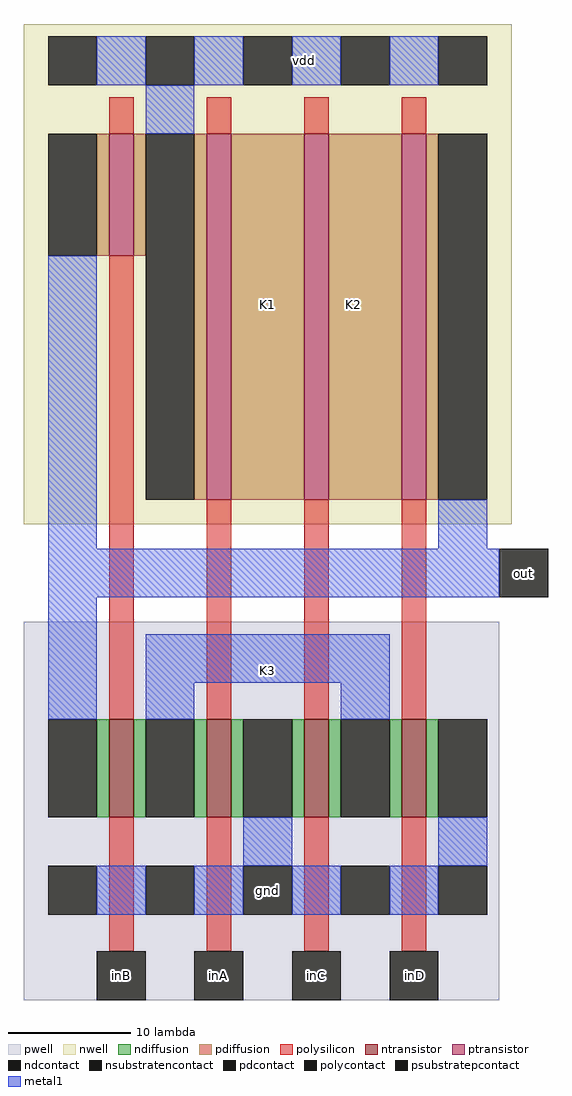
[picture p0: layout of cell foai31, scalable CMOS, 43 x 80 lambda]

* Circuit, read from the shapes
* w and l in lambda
.subckt foai31 K1 K2 K3 gnd inA inB inC inD out vdd
M1 K3 inB out gnd nfet w=8 l=2
M2 gnd inA K3 gnd nfet w=8 l=2
M3 K3 inC gnd gnd nfet w=8 l=2
M4 gnd inD K3 gnd nfet w=8 l=2
M5 vdd inB out vdd pfet w=10 l=2
M6 K1 inA vdd vdd pfet w=30 l=2
M7 K2 inC K1 vdd pfet w=30 l=2
M8 out inD K2 vdd pfet w=30 l=2
.ends

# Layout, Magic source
magic
tech scmos
<< pwell >>
rect -9 -103 30 -72
<< nwell >>
rect -9 -64 31 -23
<< polysilicon >>
rect -2 -32 0 -29
rect 6 -32 8 -29
rect 14 -32 16 -29
rect 22 -32 24 -29
rect -2 -80 0 -42
rect 6 -80 8 -62
rect 14 -80 16 -62
rect 22 -80 24 -62
rect -2 -99 0 -88
rect 6 -99 8 -88
rect 14 -99 16 -88
rect 22 -99 24 -88
<< ndiffusion >>
rect -3 -88 -2 -80
rect 0 -88 1 -80
rect 5 -88 6 -80
rect 8 -88 9 -80
rect 13 -88 14 -80
rect 16 -88 17 -80
rect 21 -88 22 -80
rect 24 -88 25 -80
<< pdiffusion >>
rect -3 -42 -2 -32
rect 0 -42 1 -32
rect 5 -62 6 -32
rect 8 -62 14 -32
rect 16 -62 22 -32
rect 24 -62 25 -32
<< metal1 >>
rect -3 -28 1 -24
rect 5 -28 9 -24
rect 13 -28 17 -24
rect 21 -28 25 -24
rect 1 -32 5 -28
rect -7 -66 -3 -42
rect 25 -66 29 -62
rect -7 -70 30 -66
rect -7 -80 -3 -70
rect 1 -77 21 -73
rect 1 -80 5 -77
rect 17 -80 21 -77
rect 9 -92 13 -88
rect 25 -92 29 -88
rect -3 -96 1 -92
rect 5 -96 9 -92
rect 13 -96 17 -92
rect 21 -96 25 -92
<< ntransistor >>
rect -2 -88 0 -80
rect 6 -88 8 -80
rect 14 -88 16 -80
rect 22 -88 24 -80
<< ptransistor >>
rect -2 -42 0 -32
rect 6 -62 8 -32
rect 14 -62 16 -32
rect 22 -62 24 -32
<< polycontact >>
rect 30 -70 34 -66
rect -3 -103 1 -99
rect 5 -103 9 -99
rect 13 -103 17 -99
rect 21 -103 25 -99
<< ndcontact >>
rect -7 -88 -3 -80
rect 1 -88 5 -80
rect 9 -88 13 -80
rect 17 -88 21 -80
rect 25 -88 29 -80
<< pdcontact >>
rect -7 -42 -3 -32
rect 1 -62 5 -32
rect 25 -62 29 -32
<< psubstratepcontact >>
rect -7 -96 -3 -92
rect 1 -96 5 -92
rect 9 -96 13 -92
rect 17 -96 21 -92
rect 25 -96 29 -92
<< nsubstratencontact >>
rect -7 -28 -3 -24
rect 1 -28 5 -24
rect 9 -28 13 -24
rect 17 -28 21 -24
rect 25 -28 29 -24
<< labels >>
rlabel metal1 14 -26 14 -26 5 vdd
rlabel polycontact 32 -68 32 -68 7 out
rlabel polycontact 7 -101 7 -101 1 inA
rlabel polycontact -1 -101 -1 -101 1 inB
rlabel polycontact 15 -101 15 -101 1 inC
rlabel polycontact 23 -101 23 -101 1 inD
rlabel psubstratepcontact 11 -94 11 -94 1 gnd
rlabel pdiffusion 11 -46 11 -46 1 K1
rlabel pdiffusion 18 -46 18 -46 1 K2
rlabel metal1 11 -76 11 -76 1 K3
<< end >>
